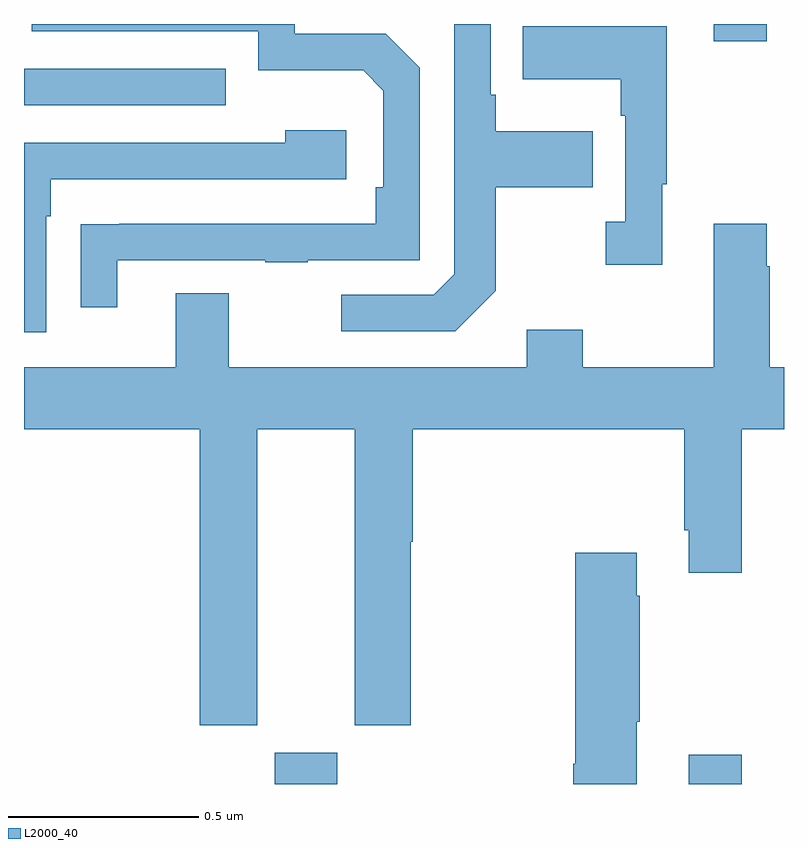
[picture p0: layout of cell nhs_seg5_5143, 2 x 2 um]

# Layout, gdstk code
import gdstk
lib = gdstk.Library(unit=1e-6, precision=1e-09)
def R(c, l, rs):  # rectangles x0, y0, x1, y1
    for r in rs: c.add(gdstk.rectangle(r[:2], r[2:], *l))
def P(c, l, *ps):  # polygons
    for p in ps: c.add(gdstk.Polygon(p, *l))
L2000_40 = (2000, 40)

nhs_seg5_5143 = lib.new_cell('nhs_seg5_5143')
R(nhs_seg5_5143, L2000_40, [(179.66,883.799,179.824,883.881), (180.749,883.799,180.889,883.876), (179,885.585,179.531,885.681), (180.815,885.753,180.955,885.799)])
P(nhs_seg5_5143, L2000_40, [(180.241,885.097),(180.241,885.37),(180.497,885.37),(180.497,885.517),(180.241,885.517),(180.241,885.613),(180.228,885.613),(180.228,885.799),(180.132,885.799),(180.132,885.141),(180.078,885.087),(179.835,885.087),(179.835,884.991),(180.135,884.991)],
  [(179.245,885.177),(179.635,885.177),(179.635,885.172),(179.747,885.172),(179.747,885.177),(180.042,885.177),(180.042,885.684),(179.952,885.774),(179.712,885.774),(179.712,885.799),(179.021,885.799),(179.021,885.78),(179.616,885.78),(179.616,885.677),(179.893,885.677),(179.946,885.624),(179.946,885.37),(179.926,885.37),(179.926,885.273),(179.251,885.273),(179.251,885.272),(179.149,885.272),(179.149,885.054),(179.245,885.054)],
  [(180.679,885.377),(180.691,885.377),(180.691,885.793),(180.313,885.793),(180.313,885.653),(180.57,885.653),(180.57,885.557),(180.582,885.557),(180.582,885.278),(180.531,885.278),(180.531,885.165),(180.679,885.165)],
  [(179.058,885.293),(179.071,885.293),(179.071,885.39),(179.848,885.39),(179.848,885.52),(179.687,885.52),(179.687,885.486),(179,885.486),(179,884.988),(179.058,884.988)],
  [(179.614,884.732),(179.87,884.732),(179.87,883.953),(180.018,883.953),(180.018,884.436),(180.023,884.436),(180.023,884.732),(180.737,884.732),(180.737,884.467),(180.749,884.467),(180.749,884.355),(180.889,884.355),(180.889,884.732),(181,884.732),(181,884.896),(180.963,884.896),(180.963,885.161),(180.955,885.161),(180.955,885.274),(180.815,885.274),(180.815,884.896),(180.471,884.896),(180.471,884.995),(180.323,884.995),(180.323,884.896),(179.539,884.896),(179.539,885.091),(179.399,885.091),(179.399,884.896),(179,884.896),(179,884.732),(179.462,884.732),(179.462,883.953),(179.614,883.953)],
  [(180.613,883.963),(180.621,883.963),(180.621,884.294),(180.613,884.294),(180.613,884.407),(180.451,884.407),(180.451,883.852),(180.446,883.852),(180.446,883.799),(180.613,883.799)])

lib.write_gds('nhs_seg5_5143.gds')
